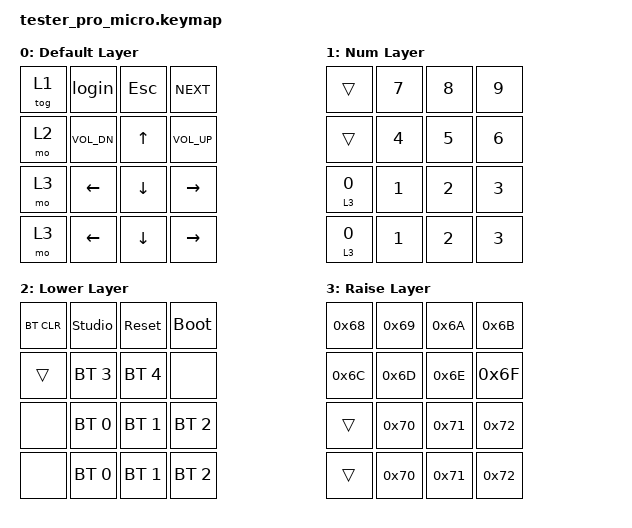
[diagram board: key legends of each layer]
/*
 * Copyright (c) 2020 The ZMK Contributors
 *
 * SPDX-License-Identifier: MIT
 */

#include <behaviors.dtsi>
#include <dt-bindings/zmk/keys.h>
#include <dt-bindings/zmk/bt.h>

/ {
    macros {
        login: login {
            compatible = "zmk,behavior-macro";
            #binding-cells = <0>;
            bindings
                = <&macro_tap &kp A &kp TAB &kp A>
                , <&macro_wait_time 300>
                , <&macro_tap &kp ENTER>
                ;
        };
    };
};

/ {
    keymap {
        compatible = "zmk,keymap";

        default_layer {
            display-name = "Default Layer";

            bindings = <
    &tog 1 &login   &kp ESC &kp C_NEXT
    &mo 2  &kp C_VOL_DN &kp UP   &kp C_VOL_UP
    &mo 3  &kp LEFT     &kp DOWN &kp RIGHT
    &mo 3  &kp LEFT     &kp DOWN &kp RIGHT
            >;

        };

        num_layer {
            display-name = "Num Layer";
            bindings = <
    &trans   &kp N7 &kp N8 &kp N9
    &trans   &kp N4 &kp N5 &kp N6
    &lt 3 N0 &kp N1 &kp N2 &kp N3
    &lt 3 N0 &kp N1 &kp N2 &kp N3
            >;
        };

        lower_layer {
            display-name = "Lower Layer";
            bindings = <
    &bt BT_CLR &studio_unlock        &sys_reset       &bootloader
    &trans     &bt BT_SEL 3 &bt BT_SEL 4 &none
    &none      &bt BT_SEL 0 &bt BT_SEL 1 &bt BT_SEL 2
    &none      &bt BT_SEL 0 &bt BT_SEL 1 &bt BT_SEL 2
            >;
        };

        raise_layer {
            display-name = "Raise Layer";
            bindings = <
    &kp 0x68 &kp 0x69 &kp 0x6A &kp 0x6B
    &kp 0x6C &kp 0x6D &kp 0x6E &kp 0x6F
    &trans   &kp 0x70 &kp 0x71 &kp 0x72
    &trans   &kp 0x70 &kp 0x71 &kp 0x72
            >;
        };
    };
};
